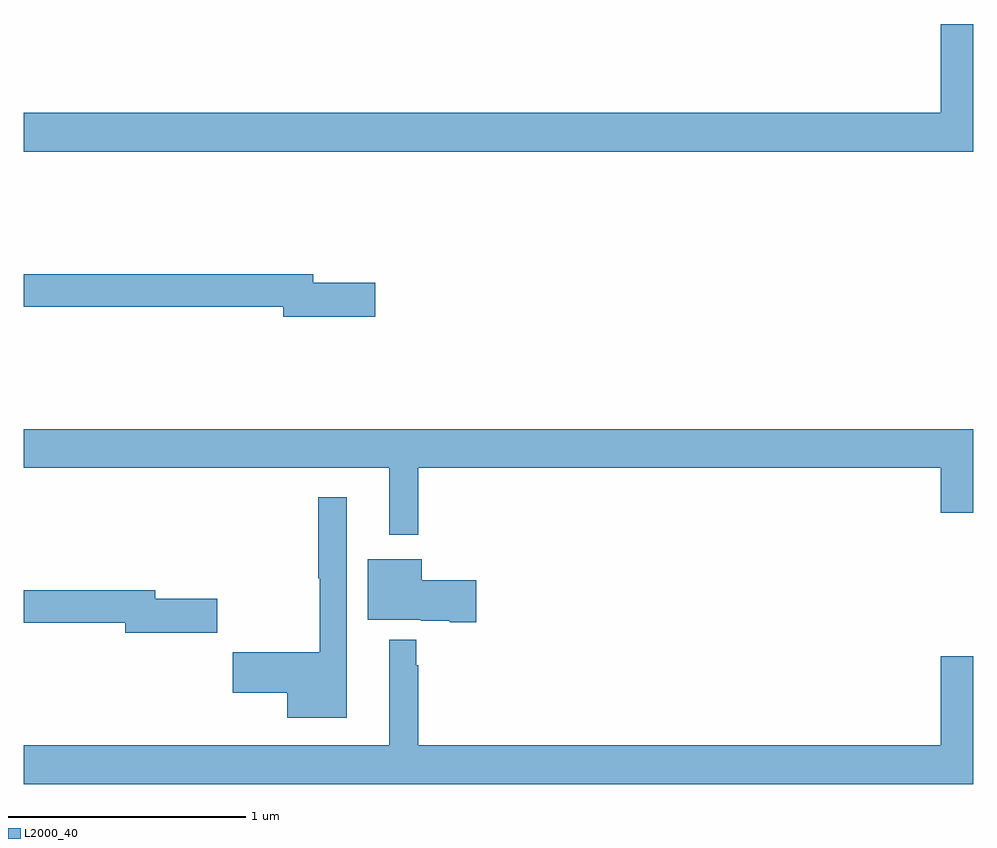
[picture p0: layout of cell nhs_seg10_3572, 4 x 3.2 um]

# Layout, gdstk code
import gdstk
lib = gdstk.Library(unit=1e-6, precision=1e-09)
def P(c, l, *ps):  # polygons
    for p in ps: c.add(gdstk.Polygon(p, *l))
L2000_40 = (2000, 40)

nhs_seg10_3572 = lib.new_cell('nhs_seg10_3572')
P(nhs_seg10_3572, L2000_40, [(309,1314.175),(308.864,1314.175),(308.864,1313.8),(305,1313.8),(305,1313.636),(309,1313.636)],
  [(306.481,1313.084),(306.22,1313.084),(306.22,1313.12),(305,1313.12),(305,1312.984),(306.092,1312.984),(306.092,1312.942),(306.481,1312.942)],
  [(306.661,1312.304),(308.864,1312.304),(308.864,1312.116),(309,1312.116),(309,1312.468),(305,1312.468),(305,1312.304),(306.539,1312.304),(306.539,1312.023),(306.661,1312.023)],
  [(306.361,1312.18),(306.24,1312.18),(306.24,1311.839),(306.247,1311.839),(306.247,1311.527),(305.88,1311.527),(305.88,1311.356),(306.11,1311.356),(306.11,1311.251),(306.361,1311.251)],
  [(306.907,1311.831),(306.676,1311.831),(306.676,1311.919),(306.449,1311.919),(306.449,1311.665),(306.672,1311.665),(306.672,1311.659),(306.794,1311.659),(306.794,1311.653),(306.907,1311.653)],
  [(305.815,1311.752),(305.554,1311.752),(305.554,1311.788),(305,1311.788),(305,1311.652),(305.426,1311.652),(305.426,1311.61),(305.815,1311.61)],
  [(309,1311.511),(308.864,1311.511),(308.864,1311.136),(306.661,1311.136),(306.661,1311.473),(306.653,1311.473),(306.653,1311.58),(306.539,1311.58),(306.539,1311.136),(305,1311.136),(305,1310.972),(309,1310.972)])

lib.write_gds('nhs_seg10_3572.gds')
